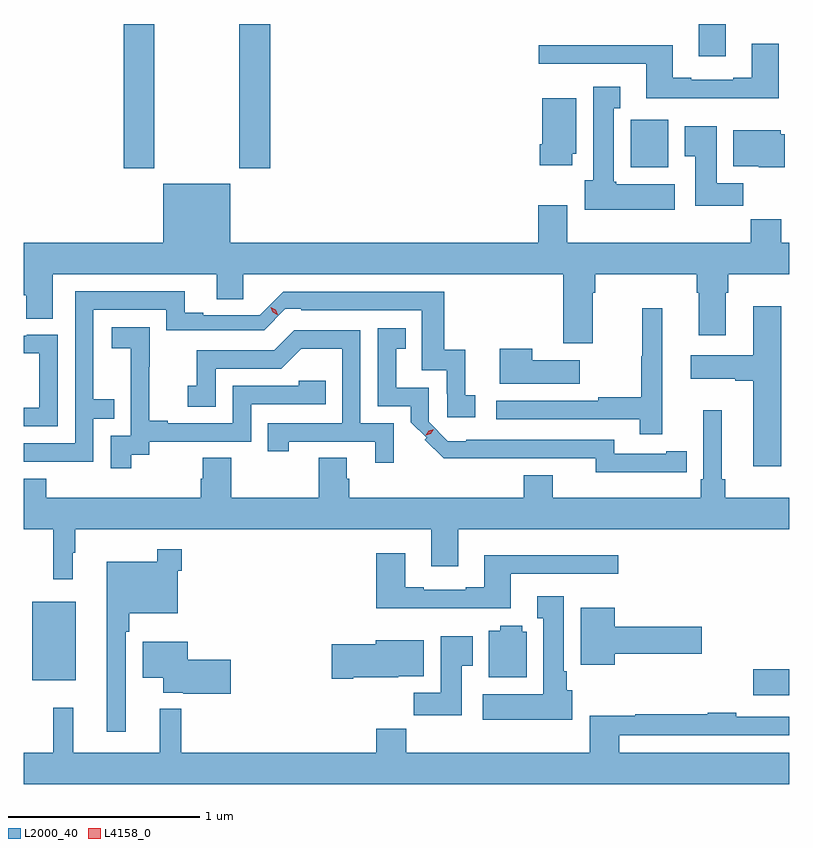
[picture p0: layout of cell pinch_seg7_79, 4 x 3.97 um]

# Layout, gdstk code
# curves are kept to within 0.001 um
import gdstk
lib = gdstk.Library(unit=1e-6, precision=1e-09)
def R(c, l, rs):  # rectangles x0, y0, x1, y1
    for r in rs: c.add(gdstk.rectangle(r[:2], r[2:], *l))
def P(c, l, *ps):  # polygons
    for p in ps: c.add(gdstk.Polygon(p, *l))
L2000_40 = (2000, 40)
L4158_0 = (4158, 0)

pinch_seg7_79 = lib.new_cell('pinch_seg7_79')
R(pinch_seg7_79, L2000_40, [(924.354,1038.377,924.543,1038.512), (920.588,1038.455,920.815,1038.865), (921.065,1041.129,921.225,1041.883), (921.67,1041.129,921.83,1041.883), (923.715,1041.134,923.911,1041.384), (924.071,1041.714,924.211,1041.883)])
P(pinch_seg7_79, L2000_40, [(924.487,1041.781),(924.347,1041.781),(924.347,1041.603),(924.251,1041.603),(924.251,1041.591),(924.031,1041.591),(924.031,1041.603),(923.935,1041.603),(923.935,1041.772),(923.235,1041.772),(923.235,1041.675),(923.795,1041.675),(923.795,1041.494),(924.487,1041.494)],
  [(923.944,1041.046),(923.64,1041.046),(923.64,1041.06),(923.626,1041.06),(923.626,1041.443),(923.659,1041.443),(923.659,1041.555),(923.519,1041.555),(923.519,1041.066),(923.474,1041.066),(923.474,1040.912),(923.944,1040.912)],
  [(923.41,1041.204),(923.431,1041.204),(923.431,1041.496),(923.252,1041.496),(923.252,1041.256),(923.24,1041.256),(923.24,1041.144),(923.41,1041.144)],
  [(924.302,1041.052),(924.163,1041.052),(924.163,1041.349),(923.996,1041.349),(923.996,1041.193),(924.053,1041.193),(924.053,1040.934),(924.302,1040.934)],
  [(924.52,1041.306),(924.498,1041.306),(924.498,1041.328),(924.251,1041.328),(924.251,1041.14),(924.384,1041.14),(924.384,1041.134),(924.52,1041.134)],
  [(923.383,1040.935),(923.231,1040.935),(923.231,1040.74),(921.622,1040.74),(921.622,1041.049),(921.272,1041.049),(921.272,1040.74),(920.543,1040.74),(920.543,1040.466),(920.555,1040.466),(920.555,1040.344),(920.695,1040.344),(920.695,1040.576),(921.551,1040.576),(921.551,1040.446),(921.691,1040.446),(921.691,1040.576),(923.363,1040.576),(923.363,1040.214),(923.515,1040.214),(923.515,1040.48),(923.528,1040.48),(923.528,1040.576),(924.059,1040.576),(924.059,1040.48),(924.071,1040.48),(924.071,1040.256),(924.211,1040.256),(924.211,1040.48),(924.224,1040.48),(924.224,1040.576),(924.543,1040.576),(924.543,1040.74),(924.5,1040.74),(924.5,1040.864),(924.343,1040.864),(924.343,1040.74),(923.383,1040.74)],
  [(920.907,1039.821),(921.017,1039.821),(921.017,1039.922),(920.907,1039.922),(920.907,1040.391),(921.288,1040.391),(921.288,1040.284),(921.799,1040.284),(921.909,1040.394),(921.994,1040.394),(921.994,1040.388),(922.623,1040.388),(922.623,1040.073),(922.752,1040.073),(922.752,1039.952),(922.755,1039.952),(922.755,1039.827),(922.903,1039.827),(922.903,1039.943),(922.85,1039.943),(922.85,1040.182),(922.739,1040.182),(922.739,1040.484),(921.9,1040.484),(921.777,1040.361),(921.481,1040.361),(921.481,1040.374),(921.385,1040.374),(921.385,1040.487),(920.811,1040.487),(920.811,1039.692),(920.543,1039.692),(920.543,1039.596),(920.907,1039.596)],
  [(924.502,1040.407),(924.356,1040.407),(924.356,1040.152),(924.027,1040.152),(924.027,1040.03),(924.26,1040.03),(924.26,1040.018),(924.356,1040.018),(924.356,1039.572),(924.502,1039.572)],
  [(923.878,1040.398),(923.776,1040.398),(923.776,1040.148),(923.769,1040.148),(923.769,1039.934),(923.545,1039.934),(923.545,1039.914),(923.013,1039.914),(923.013,1039.818),(923.761,1039.818),(923.761,1039.74),(923.878,1039.74)],
  [(921.106,1039.632),(921.198,1039.632),(921.198,1039.701),(921.732,1039.701),(921.732,1039.896),(922.121,1039.896),(922.121,1040.019),(921.981,1040.019),(921.981,1039.992),(921.636,1039.992),(921.636,1039.797),(921.295,1039.797),(921.295,1039.81),(921.2,1039.81),(921.2,1040.093),(921.201,1040.093),(921.201,1040.299),(921.003,1040.299),(921.003,1040.189),(921.101,1040.189),(921.101,1039.961),(921.102,1039.961),(921.102,1039.731),(920.997,1039.731),(920.997,1039.563),(921.106,1039.563)],
  [(923.9,1039.542),(924.008,1039.542),(924.008,1039.651),(923.9,1039.651),(923.9,1039.638),(923.628,1039.638),(923.628,1039.71),(922.856,1039.71),(922.856,1039.704),(922.759,1039.704),(922.659,1039.804),(922.659,1039.983),(922.489,1039.983),(922.489,1040.187),(922.538,1040.187),(922.538,1040.293),(922.392,1040.293),(922.392,1039.887),(922.566,1039.887),(922.566,1039.803),(922.649,1039.721),(922.639,1039.711),(922.738,1039.613),(923.532,1039.614),(923.532,1039.541)],
  [(922.476,1039.797),(922.302,1039.797),(922.302,1040.283),(921.956,1040.283),(921.851,1040.178),(921.448,1040.178),(921.448,1039.993),(921.399,1039.993),(921.399,1039.884),(921.546,1039.884),(921.546,1040.082),(921.888,1040.082),(921.992,1040.186),(922.206,1040.186),(922.206,1039.797),(921.817,1039.797),(921.817,1039.65),(921.928,1039.65),(921.928,1039.701),(922.379,1039.701),(922.379,1039.59),(922.476,1039.59)],
  [(920.721,1040.259),(920.559,1040.259),(920.559,1040.253),(920.543,1040.253),(920.543,1040.163),(920.625,1040.163),(920.625,1039.878),(920.543,1039.878),(920.543,1039.782),(920.721,1039.782)],
  [(923.449,1040.125),(923.201,1040.125),(923.201,1040.185),(923.03,1040.185),(923.03,1040.003),(923.449,1040.003)],
  [(920.8,1039.121),(920.812,1039.121),(920.812,1039.244),(922.673,1039.244),(922.673,1039.05),(922.813,1039.05),(922.813,1039.244),(924.543,1039.244),(924.543,1039.408),(924.209,1039.408),(924.209,1039.504),(924.19,1039.504),(924.19,1039.864),(924.093,1039.864),(924.093,1039.504),(924.08,1039.504),(924.08,1039.408),(923.308,1039.408),(923.308,1039.525),(923.156,1039.525),(923.156,1039.408),(922.244,1039.408),(922.244,1039.506),(922.231,1039.506),(922.231,1039.616),(922.084,1039.616),(922.084,1039.408),(921.627,1039.408),(921.627,1039.616),(921.479,1039.616),(921.479,1039.506),(921.467,1039.506),(921.467,1039.408),(920.66,1039.408),(920.66,1039.507),(920.543,1039.507),(920.543,1039.244),(920.698,1039.244),(920.698,1038.981),(920.8,1038.981)],
  [(921.075,1038.707),(921.095,1038.707),(921.095,1038.803),(921.348,1038.803),(921.348,1039.025),(921.368,1039.025),(921.368,1039.138),(921.24,1039.138),(921.24,1039.072),(920.978,1039.072),(920.978,1038.186),(921.075,1038.186)],
  [(923.089,1039.011),(923.65,1039.011),(923.65,1039.108),(922.949,1039.108),(922.949,1038.94),(922.853,1038.94),(922.853,1038.927),(922.633,1038.927),(922.633,1038.94),(922.537,1038.94),(922.537,1039.117),(922.385,1039.117),(922.385,1038.83),(923.089,1038.83)],
  [(923.41,1038.402),(923.38,1038.402),(923.38,1038.502),(923.365,1038.502),(923.365,1038.892),(923.226,1038.892),(923.226,1038.779),(923.258,1038.779),(923.258,1038.382),(922.941,1038.382),(922.941,1038.248),(923.41,1038.248)],
  [(923.632,1038.592),(924.085,1038.592),(924.085,1038.734),(923.632,1038.734),(923.632,1038.832),(923.453,1038.832),(923.453,1038.536),(923.632,1038.536)],
  [(923.17,1038.708),(923.148,1038.708),(923.148,1038.739),(923.034,1038.739),(923.034,1038.712),(922.973,1038.712),(922.973,1038.47),(923.17,1038.47)],
  [(922.831,1038.529),(922.888,1038.529),(922.888,1038.685),(922.721,1038.685),(922.721,1038.388),(922.582,1038.388),(922.582,1038.27),(922.831,1038.27)],
  [(922.264,1038.47),(922.5,1038.47),(922.5,1038.476),(922.633,1038.476),(922.633,1038.664),(922.382,1038.664),(922.382,1038.641),(922.152,1038.641),(922.152,1038.463),(922.264,1038.463)],
  [(921.625,1038.56),(921.4,1038.56),(921.4,1038.655),(921.164,1038.655),(921.164,1038.467),(921.272,1038.467),(921.272,1038.389),(921.376,1038.389),(921.376,1038.384),(921.625,1038.384)],
  [(924.543,1038.076),(923.654,1038.076),(923.654,1038.168),(924.543,1038.168),(924.543,1038.264),(924.266,1038.264),(924.266,1038.284),(924.118,1038.284),(924.118,1038.277),(923.737,1038.277),(923.737,1038.269),(923.501,1038.269),(923.501,1038.076),(922.541,1038.076),(922.541,1038.2),(922.385,1038.2),(922.385,1038.076),(921.366,1038.076),(921.366,1038.304),(921.254,1038.304),(921.254,1038.076),(920.801,1038.076),(920.801,1038.31),(920.698,1038.31),(920.698,1038.076),(920.543,1038.076),(920.543,1037.912),(924.543,1037.912)])
P(pinch_seg7_79, L4158_0, [(921.868,1040.364),(921.844,1040.377),(921.834,1040.403),(921.834,1040.404),(921.835,1040.404),(921.859,1040.39),(921.869,1040.364),(921.869,1040.364)],
  [(922.644,1039.733),(922.644,1039.733),(922.658,1039.757),(922.685,1039.766),(922.685,1039.766),(922.685,1039.766),(922.671,1039.742),(922.645,1039.733)])

lib.write_gds('pinch_seg7_79.gds')
